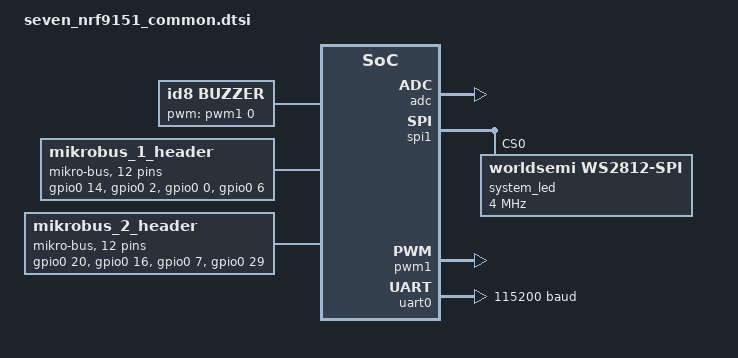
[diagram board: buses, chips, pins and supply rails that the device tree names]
/*
 * Copyright (c) 2026 ID8 Engineering AB
 *
 * SPDX-License-Identifier: Apache-2.0
 */

#include <zephyr/dt-bindings/gpio/gpio.h>
#include <zephyr/dt-bindings/led/led.h>
#include <zephyr/dt-bindings/pwm/pwm.h>
#include <nordic/nrf91xx_partition.dtsi>

/ {
	chosen {
		zephyr,console = &uart0;
		zephyr,led-strip = &system_led;
		zephyr,shell-uart = &uart0;
		zephyr,uart-mcumgr = &uart0;
	};

	/*
	 * Seven provides default serial routing for the mikroBUS™ sockets:
	 *   - mikroBUS 1 uses uart2 / i2c2 / spi2
	 *   - mikroBUS 2 uses uart3 / i2c3 / spi3
	 *
	 * Application overlays enable the function they need on the target socket.
	 *
	 * On nRF9151, the serial blocks are multiplexed:
	 *   - uart1 / i2c1 / spi1 share one hardware block
	 *   - uart2 / i2c2 / spi2 share one hardware block
	 *   - uart3 / i2c3 / spi3 share one hardware block
	 *
	 * Only one function from each group can be enabled at a time, so each
	 * mikroBUS socket may use UART or I2C or SPI, but not multiple of those
	 * functions simultaneously.
	 *
	 * For the non-secure target, uart1 is disabled by default to match the
	 * upstream nrf9151dk behavior where TF-M uses it by default.
	 *
	 * The on-board RGB LED uses spi1 with MOSI on P0.18 by default, so serial
	 * block 1 is not available for mikroBUS™ overlays unless that LED route is
	 * overridden.
	 */

	buzzer: buzzer {
		compatible = "id8,buzzer";
		pwms = <&pwm1 0 PWM_MSEC(20) PWM_POLARITY_NORMAL>;
		status = "okay";
	};

	mikrobus_1_header: mikrobus-connector-1 {
		compatible = "mikro-bus";
		#gpio-cells = <2>;
		gpio-map-mask = <0xffffffff 0xffffffc0>;
		gpio-map-pass-thru = <0 0x3f>;
		gpio-map = <0 0 &gpio0 14 0>,  /* AN */
			   <1 0 &gpio0 2 0>,   /* RST */
			   <2 0 &gpio0 0 0>,   /* CS */
			   <3 0 &gpio0 6 0>,   /* SCK */
			   <4 0 &gpio0 5 0>,   /* MISO */
			   <5 0 &gpio0 4 0>,   /* MOSI */
			   <6 0 &gpio0 3 0>,   /* PWM */
			   <7 0 &gpio0 1 0>,   /* INT */
			   <8 0 &gpio0 11 0>,  /* RX */
			   <9 0 &gpio0 10 0>,  /* TX */
			   <10 0 &gpio0 8 0>,  /* SCL */
			   <11 0 &gpio0 9 0>;  /* SDA */
	};

	mikrobus_2_header: mikrobus-connector-2 {
		compatible = "mikro-bus";
		#gpio-cells = <2>;
		gpio-map-mask = <0xffffffff 0xffffffc0>;
		gpio-map-pass-thru = <0 0x3f>;
		gpio-map = <0 0 &gpio0 20 0>,  /* AN */
			   <1 0 &gpio0 16 0>,  /* RST */
			   <2 0 &gpio0 7 0>,   /* CS */
			   <3 0 &gpio0 29 0>,  /* SCK */
			   <4 0 &gpio0 28 0>,  /* MISO */
			   <5 0 &gpio0 21 0>,  /* MOSI */
			   <6 0 &gpio0 17 0>,  /* PWM */
			   <7 0 &gpio0 15 0>,  /* INT */
			   <8 0 &gpio0 13 0>,  /* RX */
			   <9 0 &gpio0 12 0>,  /* TX */
			   <10 0 &gpio0 23 0>, /* SCL */
			   <11 0 &gpio0 22 0>; /* SDA */
	};

	aliases {
		led-strip = &system_led;
		watchdog0 = &wdt0;
		mikrobus-header-1 = &mikrobus_1_header;
		mikrobus-header-2 = &mikrobus_2_header;
		mikrobus-header = &mikrobus_1_header;
		mikrobus-1-uart = &uart2;
		mikrobus-1-i2c = &i2c2;
		mikrobus-1-spi = &spi2;
		mikrobus-2-uart = &uart3;
		mikrobus-2-i2c = &i2c3;
		mikrobus-2-spi = &spi3;
	};
};

&adc {
	status = "okay";
};

&gpiote {
	status = "okay";
};

&gpio0 {
	status = "okay";
};

&spi1 {
	compatible = "nordic,nrf-spim";
	status = "okay";
	pinctrl-0 = <&system_led_spi_default>;
	pinctrl-1 = <&system_led_spi_sleep>;
	pinctrl-names = "default", "sleep";

	system_led: ws2812@0 {
		compatible = "worldsemi,ws2812-spi";
		reg = <0>;
		spi-max-frequency = <4000000>;
		chain-length = <1>;
		color-mapping = <LED_COLOR_ID_GREEN
				 LED_COLOR_ID_RED
				 LED_COLOR_ID_BLUE>;
		spi-one-frame = <0x70>;
		spi-zero-frame = <0x40>;
		reset-delay = <50>;
	};
};

&pwm1 {
	status = "okay";
	pinctrl-0 = <&pwm1_default>;
	pinctrl-1 = <&pwm1_sleep>;
	pinctrl-names = "default", "sleep";
};

&uart0 {
	status = "okay";
	current-speed = <115200>;
	pinctrl-0 = <&uart0_default>;
	pinctrl-1 = <&uart0_sleep>;
	pinctrl-names = "default", "sleep";
};

&uart2 {
	status = "disabled";
	pinctrl-0 = <&mikrobus_1_uart_default>;
	pinctrl-1 = <&mikrobus_1_uart_sleep>;
	pinctrl-names = "default", "sleep";
};

&uart3 {
	status = "disabled";
	pinctrl-0 = <&mikrobus_2_uart_default>;
	pinctrl-1 = <&mikrobus_2_uart_sleep>;
	pinctrl-names = "default", "sleep";
};

&i2c2 {
	status = "disabled";
	pinctrl-0 = <&mikrobus_1_i2c_default>;
	pinctrl-1 = <&mikrobus_1_i2c_sleep>;
	pinctrl-names = "default", "sleep";
};

&i2c3 {
	status = "disabled";
	pinctrl-0 = <&mikrobus_2_i2c_default>;
	pinctrl-1 = <&mikrobus_2_i2c_sleep>;
	pinctrl-names = "default", "sleep";
};

&spi2 {
	compatible = "nordic,nrf-spim";
	status = "disabled";
	pinctrl-0 = <&mikrobus_1_spi_default>;
	pinctrl-1 = <&mikrobus_1_spi_sleep>;
	pinctrl-names = "default", "sleep";
};

&spi3 {
	compatible = "nordic,nrf-spim";
	status = "disabled";
	pinctrl-0 = <&mikrobus_2_spi_default>;
	pinctrl-1 = <&mikrobus_2_spi_sleep>;
	pinctrl-names = "default", "sleep";
};
